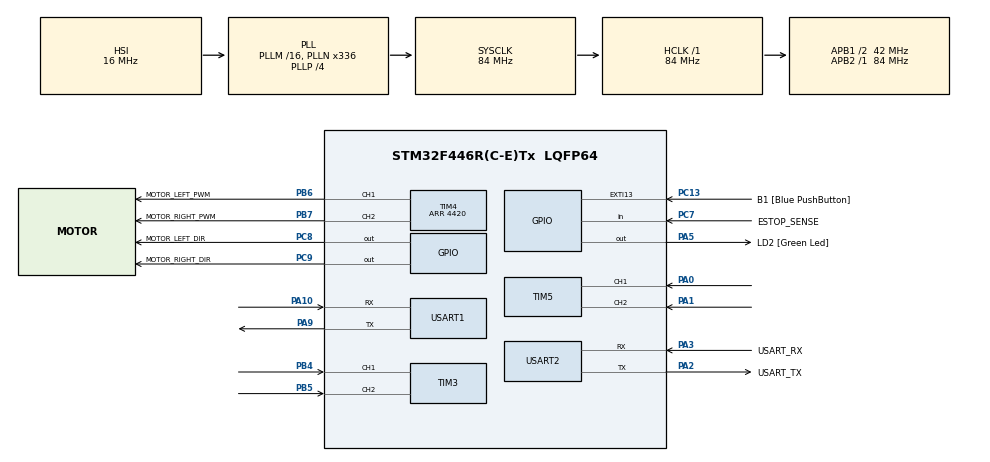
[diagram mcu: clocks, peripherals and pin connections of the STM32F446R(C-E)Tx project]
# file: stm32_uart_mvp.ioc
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Mcu.Family=STM32F4
Mcu.Name=STM32F446R(C-E)Tx
Mcu.Package=LQFP64
NVIC.PriorityGroup=NVIC_PRIORITYGROUP_0
NVIC.USART1_IRQn=true\:0\:0\:false\:false\:true\:true\:true\:true
NVIC.USART2_IRQn=true\:0\:0\:false\:false\:true\:true\:true\:true
PA0-WKUP.Signal=S_TIM5_CH1
PA1.Signal=S_TIM5_CH2
PA10.Mode=Asynchronous
PA10.Signal=USART1_RX
PA13.GPIO_Label=TMS
PA13.Mode=Serial_Wire
PA13.Signal=SYS_JTMS-SWDIO
PA14.GPIO_Label=TCK
PA14.Mode=Serial_Wire
PA14.Signal=SYS_JTCK-SWCLK
PA2.GPIO_Label=USART_TX
PA2.Mode=Asynchronous
PA2.Signal=USART2_TX
PA3.GPIO_Label=USART_RX
PA3.Mode=Asynchronous
PA3.Signal=USART2_RX
PA5.GPIO_Label=LD2 [Green Led]
PA5.Signal=GPIO_Output
PA9.Mode=Asynchronous
PA9.Signal=USART1_TX
PB3.GPIO_Label=SWO
PB3.Signal=SYS_JTDO-SWO
PB4.Signal=S_TIM3_CH1
PB5.Signal=S_TIM3_CH2
PB6.GPIO_Label=MOTOR_LEFT_PWM
PB6.Signal=S_TIM4_CH1
PB7.GPIO_Label=MOTOR_RIGHT_PWM
PB7.Signal=S_TIM4_CH2
PC13.GPIO_Label=B1 [Blue PushButton]
PC13.GPIO_ModeDefaultEXTI=GPIO_MODE_IT_FALLING
PC13.Signal=GPXTI13
PC14-OSC32_IN.Mode=LSE-External-Oscillator
PC14-OSC32_IN.Signal=RCC_OSC32_IN
PC15-OSC32_OUT.Mode=LSE-External-Oscillator
PC15-OSC32_OUT.Signal=RCC_OSC32_OUT
PC7.GPIO_Label=ESTOP_SENSE
PC7.GPIO_PuPd=GPIO_PULLUP
PC7.Signal=GPIO_Input
PC8.GPIO_Label=MOTOR_LEFT_DIR
PC8.Signal=GPIO_Output
PC9.GPIO_Label=MOTOR_RIGHT_DIR
PC9.Signal=GPIO_Output
PH0-OSC_IN.Mode=HSE-External-Oscillator
PH0-OSC_IN.Signal=RCC_OSC_IN
PH1-OSC_OUT.Mode=HSE-External-Oscillator
PH1-OSC_OUT.Signal=RCC_OSC_OUT
ProjectManager.HeapSize=0x200
ProjectManager.StackSize=0x400
ProjectManager.TargetToolchain=STM32CubeIDE
RCC.48MHZClocksFreq_Value=84000000
RCC.AHBFreq_Value=84000000
RCC.APB1CLKDivider=RCC_HCLK_DIV2
RCC.APB1Freq_Value=42000000
RCC.APB1TimFreq_Value=84000000
RCC.APB2Freq_Value=84000000
RCC.APB2TimFreq_Value=84000000
RCC.CortexFreq_Value=84000000
RCC.FLatency-AdvancedSettings=FLASH_LATENCY_2
RCC.HCLKFreq_Value=84000000
RCC.HSE_VALUE=8000000
RCC.HSI_VALUE=16000000
RCC.PLLN=336
RCC.PLLP=RCC_PLLP_DIV4
RCC.SYSCLKFreq_VALUE=84000000
RCC.SYSCLKSource=RCC_SYSCLKSOURCE_PLLCLK
RCC.USBFreq_Value=168000000
RCC.VCOOutputFreq_Value=336000000
SH.S_TIM3_CH1.0=TIM3_CH1,Encoder_Interface
SH.S_TIM3_CH2.0=TIM3_CH2,Encoder_Interface
SH.S_TIM4_CH1.0=TIM4_CH1,PWM Generation1 CH1
SH.S_TIM4_CH2.0=TIM4_CH2,PWM Generation2 CH2
SH.S_TIM5_CH1.0=TIM5_CH1,Encoder_Interface
SH.S_TIM5_CH2.0=TIM5_CH2,Encoder_Interface
TIM3.EncoderMode=TIM_ENCODERMODE_TI12
TIM4.Channel-PWM\ Generation1\ CH1=TIM_CHANNEL_1
TIM4.Channel-PWM\ Generation2\ CH2=TIM_CHANNEL_2
TIM4.Period=4420
TIM5.EncoderMode=TIM_ENCODERMODE_TI12
USART1.VirtualMode=VM_ASYNC
USART2.VirtualMode=VM_ASYNC
VP_TIM4_VS_ClockSourceINT.Mode=Internal
board=NUCLEO-F446RE

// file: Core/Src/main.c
/* USER CODE BEGIN Header */
/**
  ******************************************************************************
  * @file           : main.c
  * @brief          : Main program body
  ******************************************************************************
  * @attention
  *
  * Copyright (c) 2026 STMicroelectronics.
  * All rights reserved.
  *
  * This software is licensed under terms that can be found in the LICENSE file
  * in the root directory of this software component.
  * If no LICENSE file comes with this software, it is provided AS-IS.
  *
  ******************************************************************************
  */
/* USER CODE END Header */
#include "main.h"
#include "tim.h"
#include "usart.h"
#include "gpio.h"

/* USER CODE BEGIN Includes */
#include "uart_mvp_protocol.h"
#include "motor_output.h"
#include "encoder_speed.h"
#include <stdio.h>
/* USER CODE END Includes */

/* USER CODE BEGIN PD */
/* Output-shaft count, calibrated with STM32 quadrature x4 decoding. */
#define ENCODER_COUNTS_PER_OUTPUT_REV       1560U
#define MOTOR_OUTPUT_PIN_TEST_ENABLED       0U
#define MOTOR_FAULT_INJECTION_TEST_ENABLED  0U
#define MOTOR_OUTPUT_PIN_TEST_DUTY_PERMILLE 100U
#define MOTOR_OUTPUT_PIN_TEST_DEBOUNCE_MS   50U
#define ENCODER_SPEED_SAMPLE_PERIOD_MS      100U
#define ENCODER_COUNT_SAMPLE_PERIOD_MS      5U

#if MOTOR_FAULT_INJECTION_TEST_ENABLED && !MOTOR_OUTPUT_PIN_TEST_ENABLED
#error "Fault injection requires the motor output pin test"
#endif
/* USER CODE END PD */

/* USER CODE BEGIN PV */
static uint8_t s_motor_output_test_step;

static GPIO_PinState s_motor_output_test_button_raw = GPIO_PIN_SET;
static GPIO_PinState s_motor_output_test_button_stable = GPIO_PIN_SET;

static uint32_t s_motor_output_test_button_change_ms;

static encoder_speed_t s_encoder_tim3;
static encoder_speed_t s_encoder_tim5;
static uint32_t s_encoder_last_publish_ms;
/* USER CODE END PV */

void SystemClock_Config(void);
/* USER CODE BEGIN PFP */
static void motor_output_pin_test_process(void);
/* USER CODE END PFP */

/* USER CODE BEGIN 0 */
static bool encoder_speed_self_test_case(
  encoder_counter_width_t counter_width,
  uint32_t previous_raw,
  uint32_t current_raw,
  int64_t expected_delta
){
  encoder_speed_t test_state;

  if (!encoder_speed_init(
      &test_state,
      counter_width,
      previous_raw,
      0U,
      100U
  )){
    return false;
  }

  if (!encoder_speed_update(
      &test_state,
      current_raw,
      100U
  )){
    return false;
  }

  return (
    test_state.delta_count == expected_delta &&
    test_state.accumulated_count == expected_delta &&
    test_state.counts_per_second == expected_delta * 10LL
  );
}

static bool encoder_speed_wrap_self_test(void){
  return (
    encoder_speed_self_test_case(
      ENCODER_COUNTER_WIDTH_16,
      65530U,
      5U,
      11LL
    ) &&
    encoder_speed_self_test_case(
      ENCODER_COUNTER_WIDTH_16,
      5U,
      65530U,
      -11LL
    ) &&
    encoder_speed_self_test_case(
      ENCODER_COUNTER_WIDTH_32,
      0xFFFFFFFAUL,
      5U,
      11LL
    ) &&
    encoder_speed_self_test_case(
      ENCODER_COUNTER_WIDTH_32,
      5U,
      0xFFFFFFFAUL,
      -11LL
    )
  );
}

static bool encoder_millirpm_self_test_case(
  int64_t counts_per_second,
  int32_t expected_millirpm
){
  int32_t actual_millirpm;

  if (!encoder_speed_cps_to_millirpm(
    counts_per_second,
    ENCODER_COUNTS_PER_OUTPUT_REV,
    &actual_millirpm
  )){
    return false;
  }

  return actual_millirpm == expected_millirpm;
}

static bool encoder_millirpm_self_test(void){
  int32_t ignored_millirpm;

  return (
    encoder_millirpm_self_test_case(
      0LL,
      0
    ) &&
    encoder_millirpm_self_test_case(
      780LL,
      30000
    ) &&
    encoder_millirpm_self_test_case(
      -780LL,
      -30000
    ) &&
    encoder_millirpm_self_test_case(
      1560LL,
      60000
    ) &&
    encoder_millirpm_self_test_case(
      -1560LL,
      -60000
    ) &&
    !encoder_speed_cps_to_millirpm(
      0LL,
      0U,
      &ignored_millirpm
    ) &&
    !encoder_speed_cps_to_millirpm(
      0LL,
      ENCODER_COUNTS_PER_OUTPUT_REV,
      NULL
    ) &&
    !encoder_speed_cps_to_millirpm(
      INT64_MAX,
      ENCODER_COUNTS_PER_OUTPUT_REV,
      &ignored_millirpm
    ) &&
    !encoder_speed_cps_to_millirpm(
      INT64_MIN,
      ENCODER_COUNTS_PER_OUTPUT_REV,
      &ignored_millirpm
    )
  );
}

static int32_t encoder_cps_to_i32(int64_t cps){
    if (cps > (int64_t)INT32_MAX){
        return INT32_MAX;
    }
    if (cps < (int64_t)INT32_MIN){
        return INT32_MIN;
    }
    return (int32_t)cps;
}

static void encoder_speed_log_process(void){
    uint32_t now_ms = HAL_GetTick();
    uint32_t raw3;
    uint32_t raw5;
    int64_t left_raw_count;
    int64_t right_count;
    bool valid;

    /* Name retained for the existing loop call; runtime USB logging removed. */
    if ((uint32_t)(now_ms - s_encoder_last_publish_ms) <
        ENCODER_COUNT_SAMPLE_PERIOD_MS){
        return;
    }
    s_encoder_last_publish_ms = now_ms;
    raw3 = __HAL_TIM_GET_COUNTER(&htim3);
    raw5 = __HAL_TIM_GET_COUNTER(&htim5);
    (void)encoder_speed_update(&s_encoder_tim3, raw3, now_ms);
    (void)encoder_speed_update(&s_encoder_tim5, raw5, now_ms);

    valid = encoder_speed_snapshot(&s_encoder_tim3, raw3, &left_raw_count) &&
        encoder_speed_snapshot(&s_encoder_tim5, raw5, &right_count) &&
        left_raw_count != INT64_MIN;
    uart_mvp_set_encoder_sample(
        encoder_cps_to_i32(-s_encoder_tim3.counts_per_second),
        encoder_cps_to_i32(s_encoder_tim5.counts_per_second),
        valid ? -left_raw_count : 0,
        valid ? right_count : 0,
        now_ms,
        valid
    );
}

static void motor_output_pin_test_process(void){
    GPIO_PinState button_now;
    uint32_t now_ms;
    HAL_StatusTypeDef status = HAL_OK;

    if (MOTOR_OUTPUT_PIN_TEST_ENABLED == 0U){
        return;
    }

    button_now = HAL_GPIO_ReadPin(B1_GPIO_Port, B1_Pin);
    now_ms = HAL_GetTick();

    if (button_now != s_motor_output_test_button_raw){
        s_motor_output_test_button_raw = button_now;
        s_motor_output_test_button_change_ms = now_ms;
        return;
    }

    if (button_now == s_motor_output_test_button_stable){
        return;
    }

    if (
        (now_ms - s_motor_output_test_button_change_ms) <
        MOTOR_OUTPUT_PIN_TEST_DEBOUNCE_MS
    ){
        return;
    }

    s_motor_output_test_button_stable = button_now;

    if (button_now != GPIO_PIN_RESET){
        return;
    }

    s_motor_output_test_step++;

    switch (s_motor_output_test_step){
        case 1U:
            status = motor_output_set_raw(
                MOTOR_OUTPUT_PIN_TEST_DUTY_PERMILLE,
                GPIO_PIN_RESET,
                (MOTOR_FAULT_INJECTION_TEST_ENABLED != 0U)
                ? MOTOR_OUTPUT_PIN_TEST_DUTY_PERMILLE
                : 0U,
                GPIO_PIN_RESET
            );
            HAL_GPIO_WritePin(
                LD2_GPIO_Port,
                LD2_Pin,
                (MOTOR_FAULT_INJECTION_TEST_ENABLED != 0U)
                ? GPIO_PIN_RESET
                : GPIO_PIN_SET
            );
            break;

        case 2U:
            if (MOTOR_FAULT_INJECTION_TEST_ENABLED != 0U){
              Error_Handler();
            }
            status = motor_output_set_raw(
                MOTOR_OUTPUT_PIN_TEST_DUTY_PERMILLE,
                GPIO_PIN_SET,
                0U,
                GPIO_PIN_RESET
            );
            break;

        case 3U:
            motor_output_stop_all();
            HAL_GPIO_WritePin(
                LD2_GPIO_Port,
                LD2_Pin,
                GPIO_PIN_RESET
            );
            break;

        case 4U:
            status = motor_output_set_raw(
                0U,
                GPIO_PIN_RESET,
                MOTOR_OUTPUT_PIN_TEST_DUTY_PERMILLE,
                GPIO_PIN_RESET
            );
            HAL_GPIO_WritePin(
                LD2_GPIO_Port,
                LD2_Pin,
                GPIO_PIN_SET
            );
            break;

        case 5U:
            status = motor_output_set_raw(
                0U,
                GPIO_PIN_RESET,
                MOTOR_OUTPUT_PIN_TEST_DUTY_PERMILLE,
                GPIO_PIN_SET
            );
            break;

        case 6U:
        default:
            motor_output_stop_all();
            HAL_GPIO_WritePin(
                LD2_GPIO_Port,
                LD2_Pin,
                GPIO_PIN_RESET
            );
            s_motor_output_test_step = 0U;
            break;
    }

    if (status != HAL_OK){
        Error_Handler();
    }
}
/* USER CODE END 0 */

int main(void)
{

  /* USER CODE BEGIN 1 */
  uint32_t encoder_init_ms;
  /* USER CODE END 1 */

  /* MCU Configuration--------------------------------------------------------*/

  /* Reset of all peripherals, Initializes the Flash interface and the Systick. */
  HAL_Init();

  /* Configure the system clock */
  SystemClock_Config();

  /* Initialize all configured peripherals */
  MX_GPIO_Init();
  MX_USART2_UART_Init();
  MX_USART1_UART_Init();
  MX_TIM4_Init();
  MX_TIM3_Init();
  MX_TIM5_Init();
  /* USER CODE BEGIN 2 */
  if (motor_output_init(&htim4) != HAL_OK){
    Error_Handler();
  }

  __HAL_TIM_SET_COUNTER(&htim3, 32768U);
  __HAL_TIM_SET_COUNTER(&htim5, 0x80000000U);

  if (HAL_TIM_Encoder_Start(&htim3, TIM_CHANNEL_ALL) != HAL_OK){
    Error_Handler();
  }

  if (HAL_TIM_Encoder_Start(&htim5, TIM_CHANNEL_ALL) != HAL_OK){
    Error_Handler();
  }

  encoder_init_ms = HAL_GetTick();

  if (!encoder_speed_init(
      &s_encoder_tim3,
      ENCODER_COUNTER_WIDTH_16,
      __HAL_TIM_GET_COUNTER(&htim3),
      encoder_init_ms,
      ENCODER_SPEED_SAMPLE_PERIOD_MS
  )){
    Error_Handler();
  }

  if (!encoder_speed_init(
      &s_encoder_tim5,
      ENCODER_COUNTER_WIDTH_32,
      __HAL_TIM_GET_COUNTER(&htim5),
      encoder_init_ms,
      ENCODER_SPEED_SAMPLE_PERIOD_MS
  )){
    Error_Handler();
  }

  if (
    encoder_speed_wrap_self_test() &&
    encoder_millirpm_self_test()
  ){
    static uint8_t pass_message[] =
      "ENC_SELF_TEST,wrap=PASS,millirpm=PASS\r\n";

    (void)HAL_UART_Transmit(
      &huart2,
      pass_message,
      (uint16_t)(sizeof(pass_message) - 1U),
      50U
    );
  } else {
    static uint8_t fail_message[] =
      "ENC_SELF_TEST,wrap_or_millirpm=FAIL\r\n";

    (void)HAL_UART_Transmit(
      &huart2,
      fail_message,
      (uint16_t)(sizeof(fail_message) - 1U),
      50U
    );

    Error_Handler();
  }
  uart_mvp_init(&huart1);
  uart_mvp_start_rx();
  /* USER CODE END 2 */

  /* Infinite loop */
  while (1)
  {

    /* USER CODE BEGIN 3 */
    encoder_speed_log_process();
    motor_output_pin_test_process();
    uart_mvp_process();
  }
  /* USER CODE END 3 */
}

void SystemClock_Config(void)
{
  RCC_OscInitTypeDef RCC_OscInitStruct = {0};
  RCC_ClkInitTypeDef RCC_ClkInitStruct = {0};

  /** Configure the main internal regulator output voltage
  */
  __HAL_RCC_PWR_CLK_ENABLE();
  __HAL_PWR_VOLTAGESCALING_CONFIG(PWR_REGULATOR_VOLTAGE_SCALE3);

  /** Initializes the RCC Oscillators according to the specified parameters
  * in the RCC_OscInitTypeDef structure.
  */
  RCC_OscInitStruct.OscillatorType = RCC_OSCILLATORTYPE_HSI;
  RCC_OscInitStruct.HSIState = RCC_HSI_ON;
  RCC_OscInitStruct.HSICalibrationValue = RCC_HSICALIBRATION_DEFAULT;
  RCC_OscInitStruct.PLL.PLLState = RCC_PLL_ON;
  RCC_OscInitStruct.PLL.PLLSource = RCC_PLLSOURCE_HSI;
  RCC_OscInitStruct.PLL.PLLM = 16;
  RCC_OscInitStruct.PLL.PLLN = 336;
  RCC_OscInitStruct.PLL.PLLP = RCC_PLLP_DIV4;
  RCC_OscInitStruct.PLL.PLLQ = 2;
  RCC_OscInitStruct.PLL.PLLR = 2;
  if (HAL_RCC_OscConfig(&RCC_OscInitStruct) != HAL_OK)
  {
    Error_Handler();
  }

  /** Initializes the CPU, AHB and APB buses clocks
  */
  RCC_ClkInitStruct.ClockType = RCC_CLOCKTYPE_HCLK|RCC_CLOCKTYPE_SYSCLK
                              |RCC_CLOCKTYPE_PCLK1|RCC_CLOCKTYPE_PCLK2;
  RCC_ClkInitStruct.SYSCLKSource = RCC_SYSCLKSOURCE_PLLCLK;
  RCC_ClkInitStruct.AHBCLKDivider = RCC_SYSCLK_DIV1;
  RCC_ClkInitStruct.APB1CLKDivider = RCC_HCLK_DIV2;
  RCC_ClkInitStruct.APB2CLKDivider = RCC_HCLK_DIV1;

  if (HAL_RCC_ClockConfig(&RCC_ClkInitStruct, FLASH_LATENCY_2) != HAL_OK)
  {
    Error_Handler();
  }
}

/* USER CODE BEGIN 4 */
void HAL_UART_RxCpltCallback(UART_HandleTypeDef *huart){
  uart_mvp_on_rx_complete(huart);
}

void HAL_UART_ErrorCallback(UART_HandleTypeDef *huart){
  uart_mvp_on_uart_error(huart);
}

void HAL_UART_TxCpltCallback(UART_HandleTypeDef *huart){
  uart_mvp_on_tx_complete(huart);
}
/* USER CODE END 4 */

void Error_Handler(void)
{
  /* USER CODE BEGIN Error_Handler_Debug */
  /* User can add his own implementation to report the HAL error return state */
#if MOTOR_FAULT_INJECTION_TEST_ENABLED
  HAL_GPIO_WritePin(
    LD2_GPIO_Port,
    LD2_Pin,
    GPIO_PIN_SET
  );
#endif

  motor_output_stop_all();
  __disable_irq();
  while (1)
  {
  }
  /* USER CODE END Error_Handler_Debug */
}
